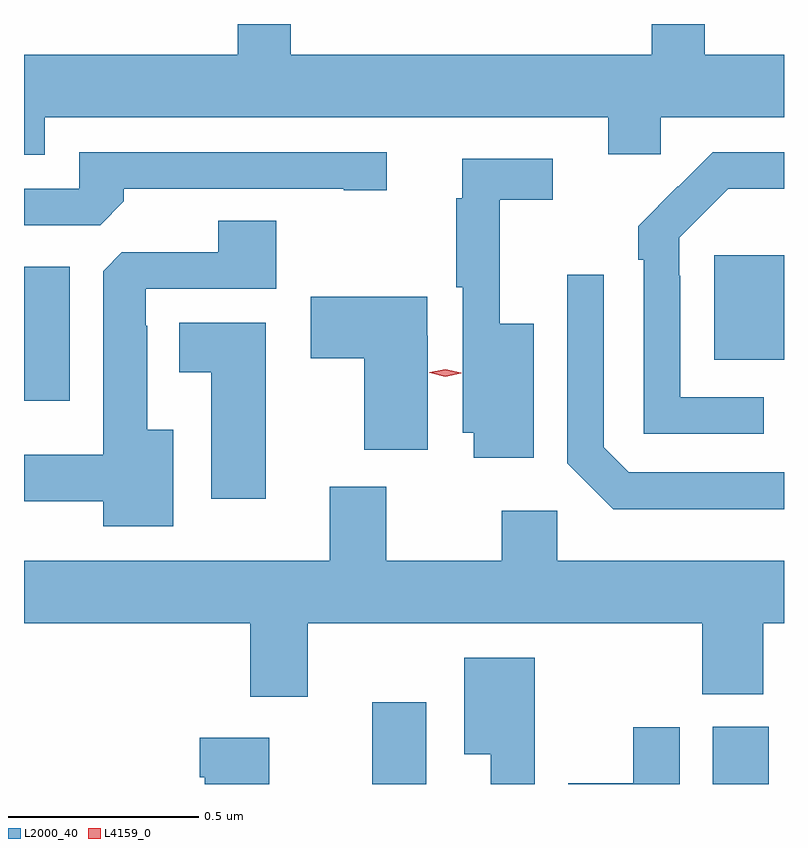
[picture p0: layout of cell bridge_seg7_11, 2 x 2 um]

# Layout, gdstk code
import gdstk
lib = gdstk.Library(unit=1e-6, precision=1e-09)
def R(c, l, rs):  # rectangles x0, y0, x1, y1
    for r in rs: c.add(gdstk.rectangle(r[:2], r[2:], *l))
def P(c, l, *ps):  # polygons
    for p in ps: c.add(gdstk.Polygon(p, *l))
L2000_40 = (2000, 40)
L4159_0 = (4159, 0)

bridge_seg7_11 = lib.new_cell('bridge_seg7_11')
R(bridge_seg7_11, L2000_40, [(1101.959,1046.813,1102.102,1047.028), (1102.856,1046.813,1103.003,1046.964), (1101.043,1047.821,1101.163,1048.174), (1102.859,1047.929,1103.043,1048.204)])
P(bridge_seg7_11, L2000_40, [(1101.097,1048.568),(1102.58,1048.568),(1102.58,1048.47),(1102.719,1048.47),(1102.719,1048.568),(1103.043,1048.568),(1103.043,1048.732),(1102.834,1048.732),(1102.834,1048.813),(1102.695,1048.813),(1102.695,1048.732),(1101.745,1048.732),(1101.745,1048.813),(1101.605,1048.813),(1101.605,1048.732),(1101.043,1048.732),(1101.043,1048.469),(1101.097,1048.469)],
  [(1102.99,1047.831),(1102.77,1047.831),(1102.77,1048.151),(1102.767,1048.151),(1102.767,1048.251),(1102.896,1048.38),(1103.043,1048.38),(1103.043,1048.476),(1102.856,1048.476),(1102.765,1048.385),(1102.764,1048.386),(1102.659,1048.281),(1102.659,1048.193),(1102.674,1048.193),(1102.674,1047.735),(1102.99,1047.735)],
  [(1101.305,1048.346),(1101.305,1048.38),(1101.884,1048.38),(1101.884,1048.375),(1101.997,1048.375),(1101.997,1048.476),(1101.189,1048.476),(1101.189,1048.38),(1101.043,1048.38),(1101.043,1048.284),(1101.243,1048.284)],
  [(1102.384,1048.024),(1102.295,1048.024),(1102.295,1048.35),(1102.435,1048.35),(1102.435,1048.458),(1102.196,1048.458),(1102.196,1048.355),(1102.181,1048.355),(1102.181,1048.12),(1102.197,1048.12),(1102.197,1047.737),(1102.226,1047.737),(1102.226,1047.672),(1102.384,1047.672)],
  [(1101.436,1047.745),(1101.367,1047.745),(1101.367,1048.019),(1101.363,1048.019),(1101.363,1048.116),(1101.707,1048.116),(1101.707,1048.295),(1101.554,1048.295),(1101.554,1048.212),(1101.3,1048.212),(1101.251,1048.163),(1101.251,1047.679),(1101.043,1047.679),(1101.043,1047.557),(1101.251,1047.557),(1101.251,1047.491),(1101.436,1047.491)],
  [(1103.043,1047.633),(1102.635,1047.633),(1102.569,1047.699),(1102.569,1048.153),(1102.473,1048.153),(1102.473,1047.657),(1102.594,1047.536),(1103.043,1047.536)],
  [(1102.105,1047.992),(1102.104,1047.992),(1102.104,1048.095),(1101.798,1048.095),(1101.798,1047.934),(1101.938,1047.934),(1101.938,1047.693),(1102.105,1047.693)],
  [(1101.679,1048.027),(1101.452,1048.027),(1101.452,1047.896),(1101.536,1047.896),(1101.536,1047.564),(1101.679,1047.564)],
  [(1101.79,1047.236),(1102.828,1047.236),(1102.828,1047.049),(1102.988,1047.049),(1102.988,1047.236),(1103.043,1047.236),(1103.043,1047.4),(1102.446,1047.4),(1102.446,1047.532),(1102.3,1047.532),(1102.3,1047.4),(1101.996,1047.4),(1101.996,1047.595),(1101.848,1047.595),(1101.848,1047.4),(1101.043,1047.4),(1101.043,1047.236),(1101.638,1047.236),(1101.638,1047.042),(1101.79,1047.042)],
  [(1102.387,1047.145),(1102.202,1047.145),(1102.202,1046.891),(1102.271,1046.891),(1102.271,1046.813),(1102.387,1046.813)],
  [(1102.768,1046.962),(1102.646,1046.962),(1102.646,1046.815),(1102.475,1046.815),(1102.475,1046.813),(1102.768,1046.813)],
  [(1101.688,1046.935),(1101.506,1046.935),(1101.506,1046.831),(1101.518,1046.831),(1101.518,1046.813),(1101.688,1046.813)])
P(bridge_seg7_11, L4159_0, [(1102.152,1047.885),(1102.111,1047.895),(1102.11,1047.895),(1102.111,1047.896),(1102.152,1047.905),(1102.193,1047.895),(1102.193,1047.894),(1102.193,1047.894)])

lib.write_gds('bridge_seg7_11.gds')
